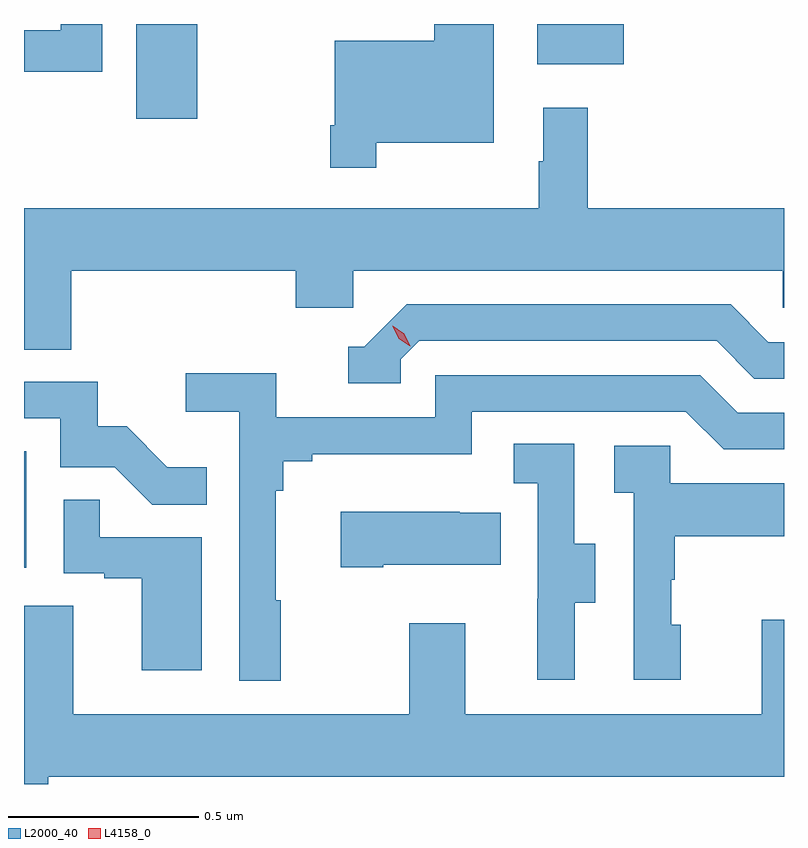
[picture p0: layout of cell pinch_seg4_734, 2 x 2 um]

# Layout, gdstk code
import gdstk
lib = gdstk.Library(unit=1e-6, precision=1e-09)
def R(c, l, rs):  # rectangles x0, y0, x1, y1
    for r in rs: c.add(gdstk.rectangle(r[:2], r[2:], *l))
def P(c, l, *ps):  # polygons
    for p in ps: c.add(gdstk.Polygon(p, *l))
L2000_40 = (2000, 40)
L4158_0 = (4158, 0)

pinch_seg4_734 = lib.new_cell('pinch_seg4_734')
R(pinch_seg4_734, L2000_40, [(850.348,814.686,850.354,814.993), (850.643,815.868,850.804,816.117), (851.699,816.011,851.926,816.117)])
P(pinch_seg4_734, L2000_40, [(851.275,815.804),(851.584,815.804),(851.584,816.117),(851.427,816.117),(851.427,816.073),(851.166,816.073),(851.166,815.851),(851.154,815.851),(851.154,815.739),(851.275,815.739)],
  [(850.554,816.117),(850.445,816.117),(850.445,816.1),(850.348,816.1),(850.348,815.991),(850.554,815.991)],
  [(850.472,815.468),(851.063,815.468),(851.063,815.37),(851.214,815.37),(851.214,815.468),(852.345,815.468),(852.345,815.37),(852.348,815.37),(852.348,815.632),(851.831,815.632),(851.831,815.896),(851.714,815.896),(851.714,815.756),(851.703,815.756),(851.703,815.632),(850.348,815.632),(850.348,815.26),(850.472,815.26)],
  [(851.34,815.235),(851.388,815.283),(852.171,815.283),(852.27,815.184),(852.348,815.184),(852.348,815.28),(852.307,815.28),(852.208,815.379),(851.355,815.379),(851.244,815.268),(851.201,815.268),(851.201,815.172),(851.34,815.172)],
  [(851.023,814.601),(851.011,814.601),(851.011,814.889),(851.03,814.889),(851.03,814.966),(851.107,814.966),(851.107,814.985),(851.526,814.985),(851.526,815.097),(852.09,815.097),(852.189,814.998),(852.348,814.998),(852.348,815.094),(852.226,815.094),(852.127,815.193),(851.43,815.193),(851.43,815.082),(851.012,815.082),(851.012,815.198),(850.773,815.198),(850.773,815.096),(850.914,815.096),(850.914,814.389),(851.023,814.389)],
  [(850.829,814.951),(850.725,814.951),(850.618,815.058),(850.542,815.058),(850.542,815.175),(850.348,815.175),(850.348,815.079),(850.443,815.079),(850.443,814.95),(850.587,814.95),(850.685,814.852),(850.829,814.852)],
  [(851.797,814.594),(851.851,814.594),(851.851,814.749),(851.796,814.749),(851.796,815.012),(851.637,815.012),(851.637,814.909),(851.7,814.909),(851.7,814.605),(851.699,814.605),(851.699,814.392),(851.797,814.392)],
  [(852.076,814.536),(852.051,814.536),(852.051,814.655),(852.061,814.655),(852.061,814.769),(852.348,814.769),(852.348,814.909),(852.048,814.909),(852.048,815.007),(851.901,815.007),(851.901,814.883),(851.952,814.883),(851.952,814.392),(852.076,814.392)],
  [(850.816,814.767),(850.547,814.767),(850.547,814.865),(850.452,814.865),(850.452,814.671),(850.559,814.671),(850.559,814.659),(850.658,814.659),(850.658,814.416),(850.816,814.416)],
  [(851.293,814.694),(851.603,814.694),(851.603,814.831),(851.495,814.831),(851.495,814.834),(851.181,814.834),(851.181,814.687),(851.293,814.687)],
  [(850.412,814.136),(852.348,814.136),(852.348,814.549),(852.29,814.549),(852.29,814.3),(851.509,814.3),(851.509,814.54),(851.362,814.54),(851.362,814.3),(850.477,814.3),(850.477,814.586),(850.348,814.586),(850.348,814.117),(850.412,814.117)])
P(pinch_seg4_734, L4158_0, [(851.365,815.269),(851.334,815.289),(851.318,815.322),(851.318,815.323),(851.318,815.323),(851.349,815.302),(851.365,815.27),(851.365,815.269)])

lib.write_gds('pinch_seg4_734.gds')
